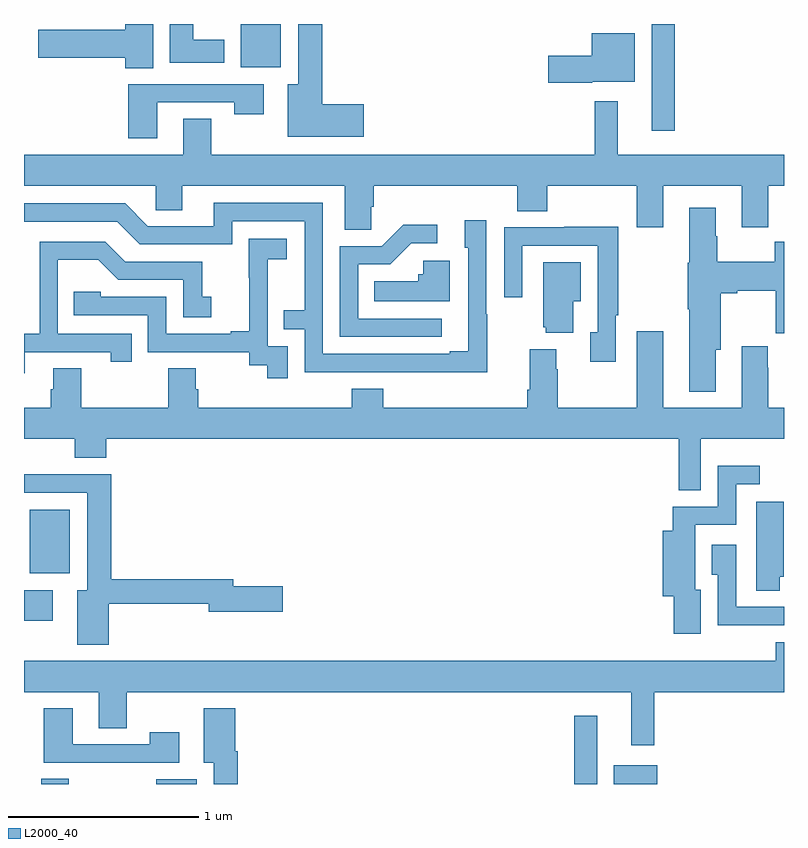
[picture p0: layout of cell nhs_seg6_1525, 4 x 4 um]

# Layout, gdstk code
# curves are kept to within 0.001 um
import gdstk
lib = gdstk.Library(unit=1e-6, precision=1e-09)
def R(c, l, rs):  # rectangles x0, y0, x1, y1
    for r in rs: c.add(gdstk.rectangle(r[:2], r[2:], *l))
def P(c, l, *ps):  # polygons
    for p in ps: c.add(gdstk.Polygon(p, *l))
L2000_40 = (2000, 40)

nhs_seg6_1525 = lib.new_cell('nhs_seg6_1525')
R(nhs_seg6_1525, L2000_40, [(203.09,965.5,203.236,965.528), (203.696,965.5,203.908,965.524), (205.896,965.5,206.017,965.86), (206.105,965.5,206.332,965.599), (203,966.36,203.152,966.519), (203.03,966.608,203.242,966.943), (206.303,968.937,206.425,969.5), (204.14,969.272,204.352,969.5)])
P(nhs_seg6_1525, L2000_40, [(203.68,969.5),(203.534,969.5),(203.534,969.47),(203.076,969.47),(203.076,969.323),(203.534,969.323),(203.534,969.268),(203.68,969.268)],
  [(204.055,969.418),(203.89,969.418),(203.89,969.5),(203.768,969.5),(203.768,969.296),(204.055,969.296)],
  [(204.787,969.077),(204.569,969.077),(204.569,969.5),(204.443,969.5),(204.443,969.184),(204.389,969.184),(204.389,968.906),(204.787,968.906)],
  [(205.992,969.197),(206.215,969.197),(206.215,969.451),(205.988,969.451),(205.988,969.332),(205.758,969.332),(205.758,969.19),(205.992,969.19)],
  [(203.701,969.087),(204.106,969.087),(204.106,969.024),(204.262,969.024),(204.262,969.183),(203.549,969.183),(203.549,968.898),(203.701,968.898)],
  [(204.828,968.539),(204.842,968.539),(204.842,968.648),(205.595,968.648),(205.595,968.515),(205.755,968.515),(205.755,968.648),(206.225,968.648),(206.225,968.43),(206.365,968.43),(206.365,968.648),(206.777,968.648),(206.777,968.43),(206.917,968.43),(206.917,968.648),(207,968.648),(207,968.812),(206.125,968.812),(206.125,969.094),(206.004,969.094),(206.004,968.812),(203.985,968.812),(203.985,969.002),(203.837,969.002),(203.837,968.812),(203,968.812),(203,968.648),(203.694,968.648),(203.694,968.521),(203.833,968.521),(203.833,968.648),(204.689,968.648),(204.689,968.416),(204.828,968.416)],
  [(205.437,967.973),(205.434,967.973),(205.434,968.467),(205.319,968.467),(205.319,968.322),(205.338,968.322),(205.337,967.777),(205.241,967.777),(205.241,967.764),(204.573,967.764),(204.573,968.559),(203.999,968.559),(203.999,968.436),(203.652,968.436),(203.532,968.556),(203,968.556),(203,968.46),(203.49,968.46),(203.61,968.34),(204.096,968.34),(204.096,968.463),(204.477,968.463),(204.477,967.994),(204.367,967.994),(204.367,967.893),(204.477,967.893),(204.477,967.668),(205.437,967.667)],
  [(206.641,967.785),(206.667,967.785),(206.667,968.084),(206.755,968.084),(206.755,968.096),(206.957,968.096),(206.957,967.872),(207,967.872),(207,968.354),(206.952,968.354),(206.952,968.248),(206.649,968.248),(206.649,968.382),(206.641,968.382),(206.641,968.533),(206.501,968.533),(206.501,968.244),(206.494,968.244),(206.494,968),(206.501,968),(206.501,967.565),(206.641,967.565)],
  [(205.198,967.95),(204.759,967.95),(204.759,968.235),(204.928,968.235),(205.039,968.346),(205.174,968.346),(205.174,968.444),(204.995,968.444),(204.882,968.331),(204.663,968.331),(204.663,967.854),(205.198,967.854)],
  [(206.115,967.966),(206.128,967.966),(206.128,968.432),(205.843,968.432),(205.843,968.43),(205.527,968.43),(205.527,968.061),(205.623,968.061),(205.623,968.334),(206.019,968.334),(206.019,967.878),(205.979,967.878),(205.979,967.722),(206.115,967.722)],
  [(204.387,967.803),(204.282,967.803),(204.282,968.033),(204.284,968.033),(204.284,968.261),(204.382,968.261),(204.382,968.371),(204.184,968.371),(204.184,968.165),(204.185,968.165),(204.185,967.882),(204.089,967.882),(204.089,967.869),(203.748,967.869),(203.748,968.064),(203.403,968.064),(203.403,968.091),(203.263,968.091),(203.263,967.968),(203.652,967.968),(203.652,967.773),(204.186,967.773),(204.186,967.705),(204.279,967.705),(204.279,967.635),(204.387,967.635)],
  [(203.005,967.773),(203.456,967.773),(203.456,967.722),(203.567,967.722),(203.567,967.869),(203.178,967.869),(203.178,968.258),(203.392,968.258),(203.496,968.154),(203.838,968.154),(203.838,967.956),(203.986,967.956),(203.986,968.065),(203.937,968.065),(203.937,968.25),(203.533,968.25),(203.428,968.355),(203.082,968.355),(203.082,967.869),(203,967.869),(203,967.662),(203.005,967.662)],
  [(205.24,968.254),(205.101,968.254),(205.101,968.184),(205.075,968.184),(205.075,968.146),(204.844,968.146),(204.844,968.042),(205.24,968.042)],
  [(205.891,968.042),(205.93,968.042),(205.93,968.245),(205.733,968.245),(205.733,967.905),(205.745,967.905),(205.745,967.874),(205.891,967.874)],
  [(206.914,967.691),(206.914,967.804),(206.777,967.804),(206.777,967.48),(206.365,967.48),(206.365,967.882),(206.225,967.882),(206.225,967.48),(205.809,967.48),(205.809,967.682),(205.801,967.682),(205.801,967.789),(205.661,967.789),(205.661,967.576),(205.649,967.576),(205.649,967.48),(204.89,967.48),(204.89,967.579),(204.725,967.579),(204.725,967.48),(203.918,967.48),(203.918,967.578),(203.905,967.578),(203.905,967.688),(203.758,967.688),(203.758,967.48),(203.301,967.48),(203.301,967.688),(203.153,967.688),(203.153,967.578),(203.141,967.578),(203.141,967.48),(203,967.48),(203,967.316),(203.267,967.316),(203.267,967.217),(203.432,967.217),(203.432,967.316),(206.445,967.316),(206.445,967.045),(206.563,967.045),(206.563,967.316),(207,967.316),(207,967.48),(206.917,967.48),(206.917,967.691)],
  [(206.563,966.523),(206.533,966.523),(206.533,966.864),(206.748,966.864),(206.748,967.077),(206.872,967.077),(206.872,967.174),(206.652,967.174),(206.652,966.96),(206.415,966.96),(206.415,966.832),(206.363,966.832),(206.363,966.488),(206.42,966.488),(206.42,966.291),(206.563,966.291)],
  [(203.446,966.45),(203.972,966.45),(203.972,966.407),(204.361,966.407),(204.361,966.542),(204.1,966.542),(204.1,966.578),(203.459,966.578),(203.459,967.13),(203,967.13),(203,967.032),(203.333,967.032),(203.333,966.52),(203.279,966.52),(203.279,966.234),(203.446,966.234)],
  [(206.977,966.591),(206.998,966.591),(206.998,966.985),(206.855,966.985),(206.855,966.517),(206.977,966.517)],
  [(206.873,966.336),(207,966.336),(207,966.432),(206.748,966.432),(206.748,966.76),(206.621,966.76),(206.621,966.601),(206.652,966.601),(206.652,966.335),(206.873,966.335)],
  [(207,966.247),(206.957,966.247),(206.957,966.148),(203,966.148),(203,965.984),(203.393,965.984),(203.393,965.794),(203.541,965.794),(203.541,965.984),(206.195,965.984),(206.195,965.703),(206.317,965.703),(206.317,965.984),(207,965.984)],
  [(203.818,965.773),(203.662,965.773),(203.662,965.709),(203.257,965.709),(203.257,965.899),(203.105,965.899),(203.105,965.613),(203.818,965.613)],
  [(204.125,965.672),(204.112,965.672),(204.112,965.899),(203.945,965.899),(203.945,965.612),(203.999,965.612),(203.999,965.5),(204.125,965.5)])

lib.write_gds('nhs_seg6_1525.gds')
